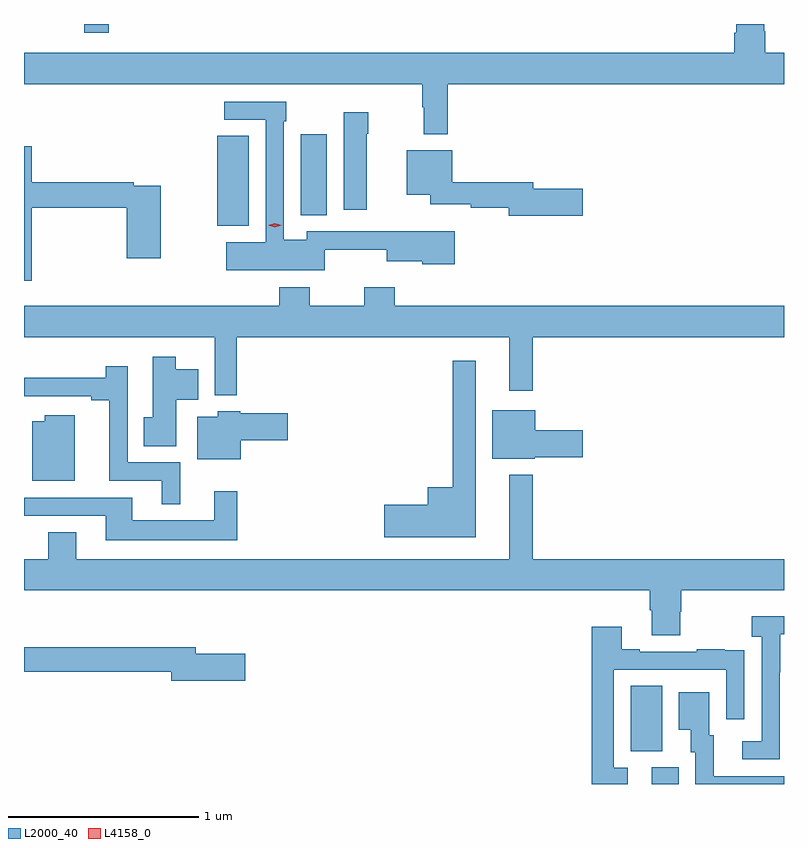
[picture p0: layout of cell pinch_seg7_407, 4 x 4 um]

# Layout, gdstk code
import gdstk
lib = gdstk.Library(unit=1e-6, precision=1e-09)
def R(c, l, rs):  # rectangles x0, y0, x1, y1
    for r in rs: c.add(gdstk.rectangle(r[:2], r[2:], *l))
def P(c, l, *ps):  # polygons
    for p in ps: c.add(gdstk.Polygon(p, *l))
L2000_40 = (2000, 40)
L4158_0 = (4158, 0)

pinch_seg7_407 = lib.new_cell('pinch_seg7_407')
R(pinch_seg7_407, L2000_40, [(580.793,998.264,580.933,998.352), (580.682,998.437,580.846,998.78), (578.504,1001.201,578.671,1001.675), (578.945,1001.257,579.082,1001.683), (577.806,1002.219,577.934,1002.264)])
P(pinch_seg7_407, L2000_40, [(579.719,1001.948),(581.488,1001.948),(581.488,1002.112),(581.39,1002.112),(581.39,1002.225),(581.385,1002.225),(581.385,1002.264),(581.237,1002.264),(581.237,1002.218),(581.225,1002.218),(581.225,1002.112),(577.488,1002.112),(577.488,1001.948),(579.583,1001.948),(579.583,1001.825),(579.591,1001.825),(579.591,1001.685),(579.719,1001.685)],
  [(579.072,1001.075),(579.398,1001.075),(579.398,1001.015),(579.585,1001.015),(579.585,1001),(579.755,1001),(579.755,1001.173),(579.502,1001.173),(579.502,1001.172),(578.976,1001.172),(578.976,1001.128),(578.856,1001.128),(578.856,1001.753),(578.869,1001.753),(578.869,1001.856),(578.541,1001.856),(578.541,1001.76),(578.76,1001.76),(578.76,1001.116),(578.553,1001.116),(578.553,1000.967),(579.072,1000.967)],
  [(579.292,1001.687),(579.3,1001.687),(579.3,1001.8),(579.17,1001.8),(579.17,1001.286),(579.292,1001.286)],
  [(577.529,1001.296),(578.03,1001.296),(578.03,1001.031),(578.208,1001.031),(578.208,1001.412),(578.066,1001.412),(578.066,1001.432),(577.529,1001.432),(577.529,1001.62),(577.488,1001.62),(577.488,1000.913),(577.529,1000.913)],
  [(580.429,1001.396),(580.168,1001.396),(580.168,1001.432),(579.742,1001.432),(579.742,1001.599),(579.503,1001.599),(579.503,1001.366),(579.626,1001.366),(579.626,1001.315),(579.838,1001.315),(579.838,1001.296),(580.04,1001.296),(580.04,1001.254),(580.429,1001.254)],
  [(578.609,1000.616),(580.043,1000.616),(580.043,1000.335),(580.165,1000.335),(580.165,1000.616),(581.488,1000.616),(581.488,1000.78),(579.44,1000.78),(579.44,1000.879),(579.28,1000.879),(579.28,1000.78),(578.991,1000.78),(578.991,1000.879),(578.831,1000.879),(578.831,1000.78),(577.488,1000.78),(577.488,1000.616),(578.493,1000.616),(578.493,1000.31),(578.609,1000.31)],
  [(578.29,1000.286),(578.404,1000.286),(578.404,1000.447),(578.287,1000.447),(578.287,1000.513),(578.165,1000.513),(578.165,1000.194),(578.119,1000.194),(578.119,1000.042),(578.29,1000.042)],
  [(579.865,1000.492),(579.744,1000.492),(579.744,999.826),(579.614,999.826),(579.614,999.734),(579.384,999.734),(579.384,999.563),(579.865,999.563)],
  [(578.311,999.957),(578.034,999.957),(578.034,1000.462),(577.918,1000.462),(577.918,1000.403),(577.488,1000.403),(577.488,1000.305),(577.841,1000.305),(577.841,1000.285),(577.937,1000.285),(577.937,999.861),(578.213,999.861),(578.213,999.737),(578.311,999.737)],
  [(580.176,999.983),(580.429,999.983),(580.429,1000.125),(580.18,1000.125),(580.18,1000.231),(579.953,1000.231),(579.953,999.977),(580.176,999.977)],
  [(578.629,1000.073),(578.875,1000.073),(578.875,1000.215),(578.625,1000.215),(578.625,1000.225),(578.508,1000.225),(578.508,1000.198),(578.399,1000.198),(578.399,999.974),(578.629,999.974)],
  [(577.756,1000.204),(577.598,1000.204),(577.598,1000.174),(577.532,1000.174),(577.532,999.86),(577.756,999.86)],
  [(580.941,999.171),(580.946,999.171),(580.946,999.284),(581.488,999.284),(581.488,999.448),(580.165,999.448),(580.165,999.892),(580.043,999.892),(580.043,999.448),(577.762,999.448),(577.762,999.59),(577.615,999.59),(577.615,999.448),(577.488,999.448),(577.488,999.284),(580.781,999.284),(580.781,999.178),(580.793,999.178),(580.793,999.046),(580.941,999.046)],
  [(578.611,999.805),(578.489,999.805),(578.489,999.652),(578.059,999.652),(578.059,999.771),(577.488,999.771),(577.488,999.675),(577.919,999.675),(577.919,999.548),(578.611,999.548)],
  [(581.466,998.851),(581.467,998.851),(581.467,999.051),(581.488,999.051),(581.488,999.148),(581.319,999.148),(581.319,999.038),(581.37,999.038),(581.37,998.49),(581.268,998.49),(581.268,998.394),(581.466,998.394)],
  [(580.666,998.349),(580.593,998.349),(580.593,998.865),(581.184,998.865),(581.184,998.604),(581.28,998.604),(581.28,998.858),(581.279,998.858),(581.279,998.967),(581.177,998.967),(581.177,998.974),(581.029,998.974),(581.029,998.961),(580.729,998.961),(580.729,998.974),(580.633,998.974),(580.633,999.091),(580.477,999.091),(580.477,998.264),(580.666,998.264)],
  [(578.653,998.949),(578.392,998.949),(578.392,998.983),(577.488,998.983),(577.488,998.854),(578.264,998.854),(578.264,998.807),(578.653,998.807)],
  [(581.488,998.304),(581.119,998.304),(581.119,998.52),(581.095,998.52),(581.095,998.746),(580.934,998.746),(580.934,998.549),(580.997,998.549),(580.997,998.43),(581.022,998.43),(581.022,998.264),(581.488,998.264)])
P(pinch_seg7_407, L4158_0, [(578.809,1001.195),(578.774,1001.205),(578.774,1001.205),(578.774,1001.205),(578.809,1001.215),(578.844,1001.205),(578.844,1001.205),(578.844,1001.205)])

lib.write_gds('pinch_seg7_407.gds')
